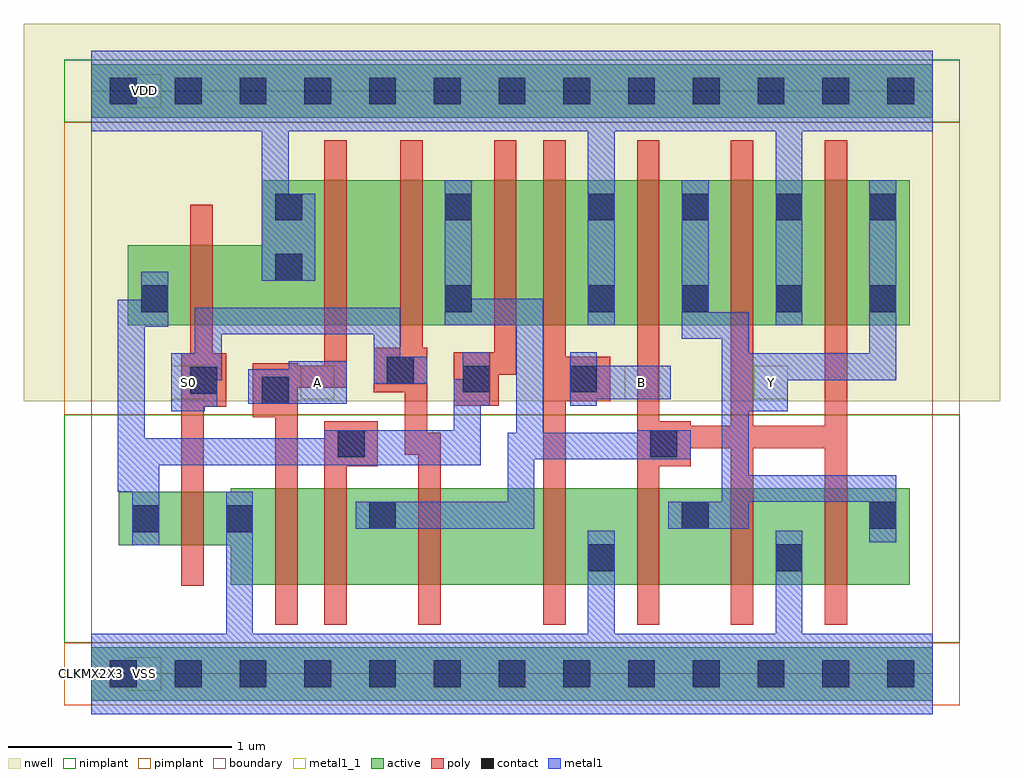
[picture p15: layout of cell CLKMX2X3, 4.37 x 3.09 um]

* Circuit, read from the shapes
.subckt CLKMX2X3 A B S0 VDD VSS Y
M1 VSS S0 n1 VSS nfet w=0.24u l=0.1u
M2 n2 A VSS VSS nfet w=0.43u l=0.1u
M3 n3 n1 n2 VSS nfet w=0.43u l=0.1u
M4 n4 S0 n3 VSS nfet w=0.43u l=0.1u
M5 VSS B n4 VSS nfet w=0.43u l=0.1u
M6 Y n3 VSS VSS nfet w=0.43u l=0.1u m=3
M7 VDD S0 n1 VDD pfet w=0.36u l=0.1u
M8 n5 A VDD VDD pfet w=0.65u l=0.1u
M9 n3 S0 n5 VDD pfet w=0.65u l=0.1u
M10 n6 n1 n3 VDD pfet w=0.65u l=0.1u
M11 VDD B n6 VDD pfet w=0.65u l=0.1u
M12 Y n3 VDD VDD pfet w=0.65u l=0.1u m=3
.ends

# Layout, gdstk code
import gdstk
lib = gdstk.Library(unit=1e-6, precision=5e-10)
def R(c, l, rs):  # rectangles x0, y0, x1, y1
    for r in rs: c.add(gdstk.rectangle(r[:2], r[2:], *l))
def A(c, l, x, y, w, h, nx, ny, dx, dy):  # array of equal rectangles
    R(c, l, [(x+i*dx, y+j*dy, x+i*dx+w, y+j*dy+h) for i in range(nx) for j in range(ny)])
active = (1, 0)
nwell = (2, 0)
poly = (3, 0)
nimplant = (4, 0)
pimplant = (5, 0)
contact = (6, 0)
metal1 = (7, 0)
metal1_1 = (7, 1)
boundary = (62, 0)

clkmx2x3 = lib.new_cell('CLKMX2X3')
R(clkmx2x3, active, [(0,-0.12,3.77,0.12), (0.625,0.4,3.665,0.575), (0.125,0.575,3.665,0.815), (0.625,0.815,3.665,0.83), (0.165,1.56,3.665,1.92), (0.765,1.92,3.665,2.21), (0,2.49,3.77,2.73)])
R(clkmx2x3, nwell, [(-0.3,1.22,4.07,2.91)])
R(clkmx2x3, poly, [(0.825,0.22,0.925,1.15), (1.045,0.22,1.145,0.93), (1.465,0.22,1.565,0.98), (2.025,0.22,2.125,1.22), (2.445,0.22,2.545,0.93), (2.865,0.22,2.965,1.01), (3.285,0.22,3.385,1.01), (0.405,0.395,0.505,1.195), (1.045,0.93,1.285,1.13), (2.445,0.93,2.685,1.01), (1.405,0.98,1.565,1.08), (2.445,1.01,3.385,1.11), (1.405,1.08,1.505,1.26), (2.445,1.11,2.685,1.13), (2.865,1.11,2.965,2.39), (3.285,1.11,3.385,2.39), (2.445,1.13,2.545,2.39), (0.725,1.15,0.925,1.28), (0.405,1.195,0.605,1.435), (1.625,1.2,1.825,1.34), (2.025,1.22,2.325,1.42), (1.265,1.26,1.505,1.46), (0.725,1.28,1.145,1.38), (1.625,1.34,1.905,1.44), (0.725,1.38,0.925,1.39), (1.045,1.38,1.145,2.39), (2.025,1.42,2.125,2.39), (0.445,1.435,0.545,2.1), (1.805,1.44,1.905,2.39), (1.385,1.46,1.485,2.39)])
R(clkmx2x3, nimplant, [(-0.12,0.14,3.89,1.16), (-0.12,2.47,3.89,2.75)])
R(clkmx2x3, pimplant, [(-0.12,-0.14,3.89,0.14), (-0.12,1.16,3.89,2.47)])
A(clkmx2x3, contact, 0.085, -0.06, 0.12, 0.12, 13, 2, 0.29, 2.61)
A(clkmx2x3, contact, 2.225, 1.62, 0.12, 0.12, 4, 2, 0.42, 0.41)
R(clkmx2x3, contact, [(2.225,0.46,2.345,0.58), (3.065,0.46,3.185,0.58), (0.185,0.635,0.305,0.755), (0.605,0.635,0.725,0.755), (1.245,0.65,1.365,0.77), (2.645,0.65,2.765,0.77), (3.485,0.65,3.605,0.77), (1.105,0.97,1.225,1.09), (2.505,0.97,2.625,1.09), (0.765,1.21,0.885,1.33), (0.445,1.255,0.565,1.375), (1.665,1.26,1.785,1.38), (2.145,1.26,2.265,1.38), (1.325,1.3,1.445,1.42), (0.225,1.62,0.345,1.74), (1.585,1.62,1.705,1.74), (0.825,1.76,0.945,1.88), (0.825,2.03,0.945,2.15), (1.585,2.03,1.705,2.15)])
R(clkmx2x3, metal1, [(0,-0.18,3.77,0.18), (0.605,0.18,0.725,0.815), (2.225,0.18,2.345,0.64), (3.065,0.18,3.185,0.64), (0.185,0.575,0.305,0.815), (3.485,0.59,3.605,0.77), (1.185,0.65,1.985,0.77), (2.585,0.65,2.945,0.77), (1.865,0.77,1.985,0.96), (2.825,0.77,3.605,0.89), (0.12,0.815,0.305,0.935), (2.825,0.89,2.945,1.175), (0.12,0.935,1.745,1.055), (1.865,0.96,2.685,1.08), (0.12,1.055,0.24,1.555), (1.045,1.055,1.745,1.09), (1.905,1.08,2.025,1.56), (2.445,1.08,2.685,1.09), (1.625,1.09,1.745,1.2), (0.36,1.175,0.51,1.195), (2.825,1.175,3.12,1.315), (0.36,1.195,0.565,1.315), (1.625,1.2,1.785,1.32), (2.145,1.2,2.265,1.23), (0.705,1.21,1.145,1.365), (2.145,1.23,2.595,1.38), (1.265,1.3,1.505,1.42), (0.36,1.315,0.585,1.435), (2.825,1.315,3.605,1.435), (1.665,1.32,1.785,1.44), (0.885,1.365,1.145,1.4), (2.145,1.38,2.265,1.44), (1.265,1.42,1.385,1.52), (0.465,1.435,0.585,1.52), (2.825,1.435,2.945,1.5), (3.485,1.435,3.605,2.21), (2.645,1.5,2.945,1.62), (0.465,1.52,1.385,1.64), (0.12,1.555,0.345,1.675), (1.585,1.56,2.025,1.68), (2.225,1.56,2.345,2.43), (3.065,1.56,3.185,2.43), (2.645,1.62,2.765,2.21), (0.225,1.675,0.345,1.8), (1.585,1.68,1.705,2.21), (0.765,1.76,1.005,2.15), (0.765,2.15,0.885,2.43), (0,2.43,3.77,2.79)])
R(clkmx2x3, metal1_1, [(0.165,-0.075,0.315,0.075), (0.36,1.23,0.51,1.38), (0.94,1.23,1.09,1.38), (2.39,1.23,2.54,1.38), (2.97,1.23,3.12,1.38), (0.165,2.535,0.315,2.685)])
R(clkmx2x3, boundary, [(0,0,3.77,2.61)])
clkmx2x3.add(gdstk.Label('CLKMX2X3', (0,0), layer=63, texttype=0))
clkmx2x3.add(gdstk.Label('VSS', (0.24,0), layer=7, texttype=3))
clkmx2x3.add(gdstk.Label('VDD', (0.24,2.61), layer=7, texttype=3))
clkmx2x3.add(gdstk.Label('S0', (0.435,1.305), layer=7, texttype=3))
clkmx2x3.add(gdstk.Label('A', (1.015,1.305), layer=7, texttype=3))
clkmx2x3.add(gdstk.Label('B', (2.465,1.305), layer=7, texttype=3))
clkmx2x3.add(gdstk.Label('Y', (3.045,1.305), layer=7, texttype=3))

lib.write_gds('CLKMX2X3.gds')
